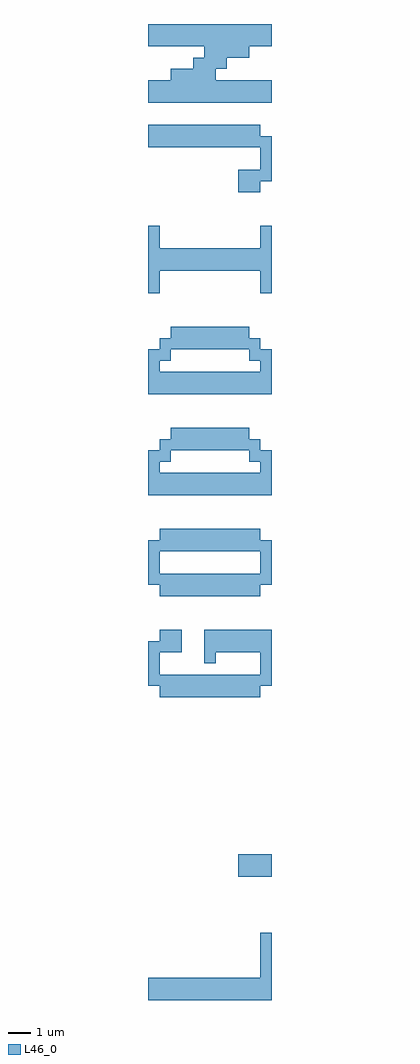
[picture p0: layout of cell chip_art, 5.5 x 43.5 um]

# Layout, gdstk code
import gdstk
lib = gdstk.Library(unit=1e-6, precision=1e-09)
def R(c, l, rs):  # rectangles x0, y0, x1, y1
    for r in rs: c.add(gdstk.rectangle(r[:2], r[2:], *l))
def P(c, l, *ps):  # polygons
    for p in ps: c.add(gdstk.Polygon(p, *l))
L46_0 = (46, 0)

chip_art = lib.new_cell('chip_art')
R(chip_art, L46_0, [(20,21,21.5,22)])
P(chip_art, L46_0, [(21.5,18.5),(21,18.5),(21,16.5),(16,16.5),(16,15.5),(21.5,15.5)],
  [(21,29),(21,29.5),(21.5,29.5),(21.5,32),(18.5,32),(18.5,30.5),(19,30.5),(19,31),(21,31),(21,30),(16.5,30),(16.5,31),(17.5,31),(17.5,32),(16.5,32),(16.5,31.5),(16,31.5),(16,29.5),(16.5,29.5),(16.5,29)],
  [(16.5,36.5),(16.5,36),(16,36),(16,34),(16.5,34),(16.5,33.5),(21,33.5),(21,34.5),(16.5,34.5),(16.5,35.5),(21,35.5),(21,34.5),(21,33.5),(21,34),(21.5,34),(21.5,36),(21,36),(21,36.5)],
  [(20.5,40.5),(20.5,41),(17,41),(17,40.5),(16.5,40.5),(16.5,40),(16,40),(16,38),(21,38),(21,39),(16.5,39),(16.5,39.5),(17,39.5),(17,40),(20.5,40),(20.5,39.5),(21,39.5),(21,39),(21,38),(21.5,38),(21.5,40),(21,40),(21,40.5)],
  [(20.5,45),(20.5,45.5),(17,45.5),(17,45),(16.5,45),(16.5,44.5),(16,44.5),(16,42.5),(21,42.5),(21,43.5),(16.5,43.5),(16.5,44),(17,44),(17,44.5),(20.5,44.5),(20.5,44),(21,44),(21,43.5),(21,42.5),(21.5,42.5),(21.5,44.5),(21,44.5),(21,45)],
  [(21,47),(21.5,47),(21.5,50),(21,50),(21,49),(16.5,49),(16.5,50),(16,50),(16,47),(16.5,47),(16.5,48),(21,48)],
  [(21,52),(21.5,52),(21.5,54),(21,54),(21,54.5),(16,54.5),(16,53.5),(21,53.5),(21,52.5),(20,52.5),(20,51.5),(21,51.5)],
  [(21.5,56.5),(19,56.5),(19,57),(19.5,57),(19.5,57.5),(20.5,57.5),(20.5,58),(21.5,58),(21.5,59),(16,59),(16,58),(18.5,58),(18.5,57.5),(18,57.5),(18,57),(17,57),(17,56.5),(16,56.5),(16,55.5),(21.5,55.5)])

lib.write_gds('chip_art.gds')
